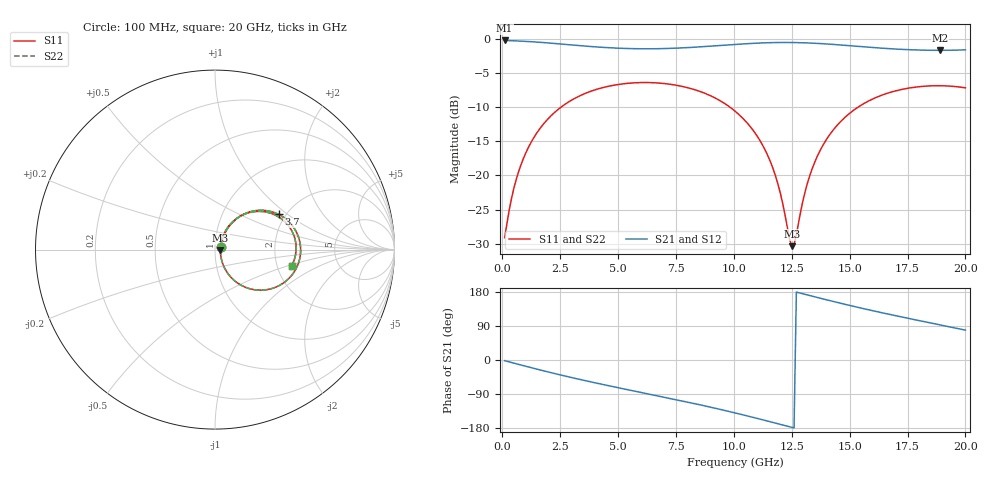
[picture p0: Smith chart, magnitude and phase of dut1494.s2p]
! Touchstone file exported from HFSS 2026.1.0
!  File:  C:/ffzhzh/LocalFiles/Ansys_Project_Files/temp_train_TSV_RDL_1494_1783364930_4416.aedt
!  Generated:  03:22:11 AM Jul  7, 2026
!  Design:  TSV_RDL
!  Project:  temp_train_TSV_RDL_1494_1783364930_4416
! Variables:
!  h_bsmrdl = 3.27um
!  h_ox = 20um
!  h_rdl = 5um
!  h_sub = 91.2um
!  h_tmrdl = 5.07um
!  h_tsv = 91.2um
!  h_via = 3um
!  l_bsmrdl = 885.82um
!  l_sub = 4703.46um
!  l_tmrdl = 387.77um
!  m_sub = 200um
!  pitch = 32.15um
!  r_tsv = 2.95um
!  s_tmrdl = 10um
!  w_bsmrdl = 17.6um
!  w_sub = 500um
!  w_tmrdl = 14.04um
!  x_tsv_center1 = 394.79um
!  x_tsv_center2 = 1298.21um
!  x_tsv_center3 = 1700.02um
!  x_tsv_center4 = 2603.44um
!  x_tsv_center5 = 3005.25um
!  x_tsv_center6 = 3908.67um
# GHz S MA R 50.000000
! Terminal data exported
! Port[1] = TM_RDL1_1_T1
! Port[2] = TM_RDL5_1_T1
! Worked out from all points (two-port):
!   200 points, 100 MHz to 20 GHz, reference 50 ohm
!   highest |S21| = -0.28 dB at 100 MHz (marker M1); lowest = -1.7 dB at 18.9 GHz (marker M2)
!   |S21| within 3 dB of the highest: start of sweep to end of sweep
!   lowest |S11| = -30.3 dB at 12.5 GHz (marker M3), VSWR 1.06, Z = 53.1 - j0.475 ohm
!   |S11| at or under -10 dB: start of sweep to 2.544 GHz; 9.822 GHz to 15.37 GHz (5.551 GHz wide, 44.1 % of centre)
!   |S22| runs from -30.4 to -6.4 dB; largest |S21 - S12| = 1.8e-14
!   S11 on the Smith chart (normalised r, x): 100 MHz: 1.07, +0.03; 3.7 GHz: 1.83, +0.86; 20 GHz: 2.41, -0.53
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0.1  0.03514 24.6  0.9684 -1.7  0.9684 -1.7  0.03514 24.6
! Gamma 0 0 0 0
! Port Impedance 50 0 50 0
0.6  0.09332 57.9  0.9611 -9.9  0.9611 -9.9  0.09332 57.9
1.2  0.1691 58.0  0.9496 -19.5  0.9496 -19.5  0.1691 58.0
2.2  0.2828 47.7  0.9224 -34.9  0.9224 -34.9  0.2828 47.7
3.5  0.3922 31.5  0.883 -53.4  0.883 -53.4  0.3922 31.5
3.7  0.4048 29.0  0.8775 -56.1  0.8775 -56.1  0.4048 29.0
5.3  0.4687 9.6  0.8466 -76.9  0.8466 -76.9  0.4687 9.6
6.8  0.4726 -8.1  0.8435 -95.7  0.8435 -95.7  0.4726 -8.1
8.6  0.4072 -29.8  0.8709 -119.1  0.8709 -119.1  0.4072 -29.9
10.1  0.2904 -48.5  0.9071 -140.3  0.9071 -140.3  0.2904 -48.6
11  0.1947 -58.7  0.9256 -154.0  0.9256 -154.0  0.1946 -58.8
11.6  0.1234 -62.5  0.9334 -163.4  0.9334 -163.4  0.1234 -62.6
12  0.0752 -59.1  0.9358 -169.7  0.9358 -169.7  0.07513 -59.2
12.5  0.03046 -8.4  0.9355 -177.7  0.9355 -177.7  0.03031 -8.5
12.6  0.03139 14.1  0.9349 -179.2  0.9349 -179.2  0.03125 14.2
13  0.06716 55.3  0.9313 174.4  0.9313 174.4  0.06711 55.4
13.4  0.114 60.6  0.9255 168.1  0.9255 168.1  0.114 60.6
14  0.1833 57.6  0.9132 158.9  0.9132 158.9  0.1832 57.6
14.7  0.2563 50.3  0.8953 148.4  0.8953 148.4  0.2563 50.3
16.7  0.402 26.4  0.8437 120.7  0.8437 120.7  0.402 26.4
18.9  0.4523 0.9  0.8202 92.7  0.8202 92.7  0.4523 0.8
20  0.4368 -11.7  0.8266 78.8  0.8266 78.8  0.4368 -11.8
